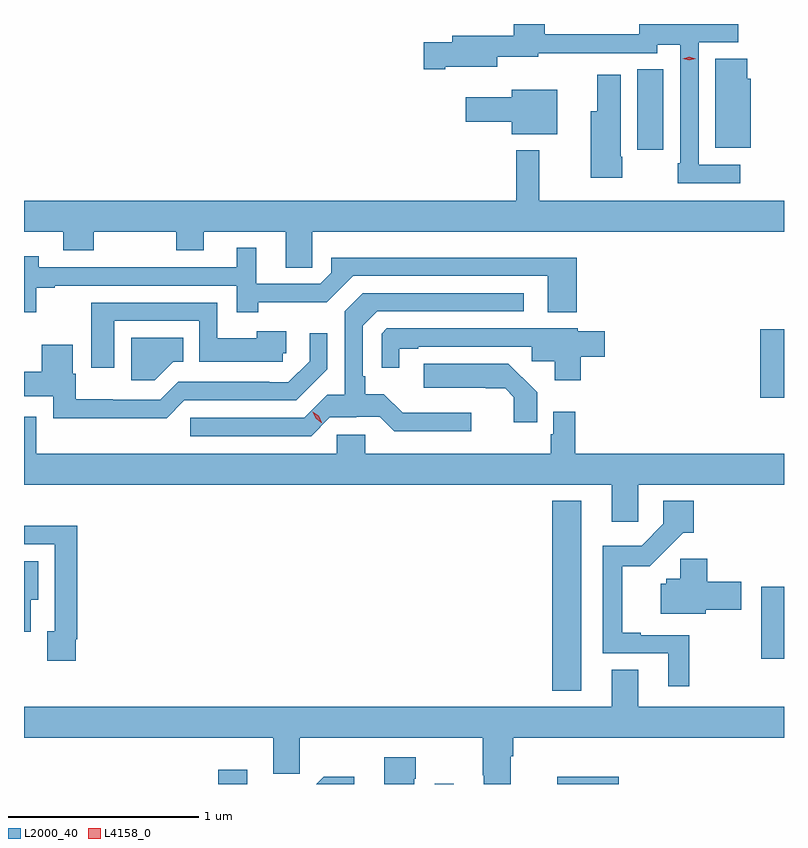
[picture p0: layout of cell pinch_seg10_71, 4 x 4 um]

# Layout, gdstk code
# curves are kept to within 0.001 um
import gdstk
lib = gdstk.Library(unit=1e-6, precision=1e-09)
def R(c, l, rs):  # rectangles x0, y0, x1, y1
    for r in rs: c.add(gdstk.rectangle(r[:2], r[2:], *l))
def P(c, l, *ps):  # polygons
    for p in ps: c.add(gdstk.Polygon(p, *l))
L2000_40 = (2000, 40)
L4158_0 = (4158, 0)

pinch_seg10_71 = lib.new_cell('pinch_seg10_71')
R(pinch_seg10_71, L2000_40, [(820.487,1302.737,820.639,1302.811), (821.627,1302.737,821.725,1302.739), (822.27,1302.737,822.595,1302.776), (822.245,1303.229,822.397,1304.227), (823.345,1303.395,823.464,1303.776), (823.34,1304.77,823.464,1305.13), (822.692,1306.074,822.829,1306.499)])
P(pinch_seg10_71, L2000_40, [(823.234,1305.996),(823.014,1305.996),(823.014,1306.64),(823.222,1306.64),(823.222,1306.737),(822.702,1306.737),(822.702,1306.682),(822.206,1306.682),(822.206,1306.737),(822.041,1306.737),(822.041,1306.675),(821.717,1306.675),(821.717,1306.641),(821.568,1306.641),(821.568,1306.499),(821.68,1306.499),(821.68,1306.511),(821.956,1306.511),(821.956,1306.565),(822.171,1306.565),(822.171,1306.583),(822.386,1306.583),(822.386,1306.584),(822.798,1306.584),(822.798,1306.628),(822.918,1306.628),(822.918,1306.003),(822.906,1306.003),(822.906,1305.9),(823.234,1305.9)],
  [(823.288,1306.449),(823.27,1306.449),(823.27,1306.555),(823.103,1306.555),(823.103,1306.085),(823.288,1306.085)],
  [(822.612,1306.039),(822.604,1306.039),(822.604,1306.471),(822.482,1306.471),(822.482,1306.279),(822.446,1306.279),(822.446,1305.927),(822.612,1305.927)],
  [(822.271,1306.39),(822.032,1306.39),(822.032,1306.351),(821.79,1306.351),(821.79,1306.222),(822.032,1306.222),(822.032,1306.157),(822.271,1306.157)],
  [(819.464,1305.644),(819.671,1305.644),(819.671,1305.545),(819.831,1305.545),(819.831,1305.644),(820.264,1305.644),(820.264,1305.545),(820.411,1305.545),(820.411,1305.644),(820.841,1305.644),(820.841,1305.454),(820.98,1305.454),(820.98,1305.644),(823.464,1305.644),(823.464,1305.808),(822.176,1305.808),(822.176,1306.072),(822.055,1306.072),(822.055,1305.808),(819.464,1305.808)],
  [(819.529,1305.348),(819.625,1305.348),(819.625,1305.36),(820.583,1305.36),(820.583,1305.219),(820.697,1305.219),(820.697,1305.272),(821.057,1305.272),(821.196,1305.411),(822.221,1305.411),(822.221,1305.221),(822.374,1305.221),(822.374,1305.508),(821.08,1305.508),(821.08,1305.427),(821.022,1305.369),(820.687,1305.369),(820.687,1305.559),(820.583,1305.559),(820.583,1305.456),(820.175,1305.456),(820.175,1305.458),(819.919,1305.458),(819.919,1305.456),(819.542,1305.456),(819.542,1305.514),(819.464,1305.514),(819.464,1305.219),(819.529,1305.219)],
  [(821.074,1304.667),(821.212,1304.667),(821.212,1304.67),(821.336,1304.67),(821.412,1304.594),(821.818,1304.594),(821.818,1304.692),(821.557,1304.692),(821.557,1304.69),(821.457,1304.69),(821.358,1304.788),(821.26,1304.788),(821.26,1304.884),(821.247,1304.884),(821.247,1305.149),(821.323,1305.225),(822.094,1305.225),(822.094,1305.321),(821.247,1305.321),(821.151,1305.225),(821.151,1304.787),(821.061,1304.787),(820.938,1304.664),(820.338,1304.664),(820.338,1304.568),(820.975,1304.568)],
  [(819.94,1305.174),(820.386,1305.174),(820.386,1304.96),(820.826,1304.96),(820.826,1305.003),(820.845,1305.003),(820.845,1305.121),(820.688,1305.121),(820.688,1305.082),(820.482,1305.082),(820.482,1305.27),(819.818,1305.27),(819.818,1304.928),(819.94,1304.928)],
  [(822.395,1304.987),(822.52,1304.987),(822.52,1305.121),(822.378,1305.121),(822.378,1305.135),(821.373,1305.135),(821.346,1305.108),(821.346,1304.928),(821.44,1304.928),(821.44,1305.027),(821.539,1305.027),(821.539,1305.039),(822.137,1305.039),(822.137,1304.961),(822.257,1304.961),(822.257,1304.862),(822.395,1304.862)],
  [(820.308,1304.757),(820.897,1304.757),(821.061,1304.921),(821.061,1305.109),(820.967,1305.109),(820.967,1304.963),(820.855,1304.851),(820.754,1304.851),(820.754,1304.853),(820.275,1304.853),(820.182,1304.76),(819.736,1304.761),(819.736,1304.895),(819.721,1304.895),(819.721,1305.049),(819.557,1305.049),(819.557,1304.907),(819.464,1304.907),(819.464,1304.777),(819.617,1304.777),(819.617,1304.663),(820.214,1304.663)],
  [(820.25,1304.96),(820.301,1304.96),(820.301,1305.085),(820.028,1305.085),(820.028,1304.862),(820.151,1304.862)],
  [(822.164,1304.8),(822.087,1304.877),(822.086,1304.876),(822.012,1304.95),(821.568,1304.95),(821.568,1304.822),(821.894,1304.822),(821.894,1304.819),(821.996,1304.819),(822.042,1304.772),(822.042,1304.64),(822.164,1304.64)],
  [(819.464,1304.671),(819.464,1304.312),(822.557,1304.312),(822.557,1304.118),(822.696,1304.118),(822.696,1304.312),(823.464,1304.312),(823.464,1304.476),(822.365,1304.476),(822.365,1304.695),(822.249,1304.695),(822.249,1304.577),(822.237,1304.577),(822.237,1304.476),(821.261,1304.476),(821.261,1304.574),(821.109,1304.574),(821.109,1304.476),(819.529,1304.476),(819.529,1304.671)],
  [(822.964,1303.521),(822.709,1303.521),(822.709,1303.534),(822.613,1303.534),(822.613,1303.883),(822.757,1303.883),(822.935,1304.06),(822.989,1304.06),(822.989,1304.227),(822.828,1304.227),(822.828,1304.106),(822.714,1303.992),(822.509,1303.992),(822.509,1303.425),(822.854,1303.425),(822.854,1303.251),(822.964,1303.251)],
  [(819.736,1303.498),(819.743,1303.498),(819.743,1304.096),(819.464,1304.096),(819.464,1303.998),(819.627,1303.998),(819.627,1303.542),(819.587,1303.542),(819.587,1303.386),(819.736,1303.386)],
  [(823.051,1303.655),(823.24,1303.655),(823.24,1303.802),(823.059,1303.802),(823.059,1303.923),(822.919,1303.923),(822.919,1303.818),(822.843,1303.818),(822.843,1303.791),(822.815,1303.791),(822.815,1303.634),(823.051,1303.634)],
  [(819.499,1303.706),(819.538,1303.706),(819.538,1303.909),(819.464,1303.909),(819.464,1303.538),(819.499,1303.538)],
  [(822.025,1302.884),(822.038,1302.884),(822.038,1302.98),(823.464,1302.98),(823.464,1303.144),(822.697,1303.144),(822.697,1303.339),(822.557,1303.339),(822.557,1303.144),(819.464,1303.144),(819.464,1302.98),(820.775,1302.98),(820.775,1302.79),(820.914,1302.79),(820.914,1302.98),(821.878,1302.98),(821.878,1302.784),(821.885,1302.784),(821.885,1302.737),(822.025,1302.737)],
  [(821.518,1302.764),(821.526,1302.764),(821.526,1302.877),(821.36,1302.877),(821.36,1302.737),(821.518,1302.737)],
  [(821.203,1302.775),(821.041,1302.775),(821.003,1302.737),(821.203,1302.737)])
P(pinch_seg10_71, L4158_0, [(822.965,1306.545),(822.93,1306.555),(822.93,1306.555),(822.93,1306.555),(822.965,1306.565),(823,1306.555),(823,1306.555),(823,1306.555)],
  [(821.029,1304.639),(820.999,1304.661),(820.984,1304.695),(820.984,1304.695),(820.984,1304.695),(821.015,1304.674),(821.03,1304.639),(821.03,1304.639)])

lib.write_gds('pinch_seg10_71.gds')
